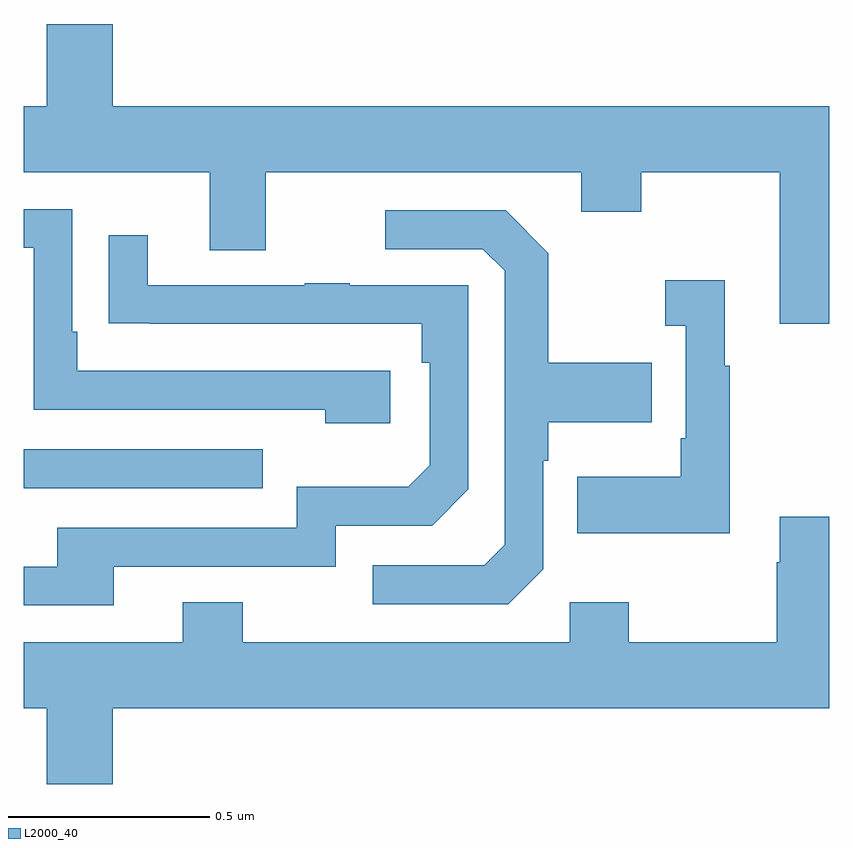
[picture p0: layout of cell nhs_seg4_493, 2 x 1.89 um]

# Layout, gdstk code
import gdstk
lib = gdstk.Library(unit=1e-6, precision=1e-09)
def R(c, l, rs):  # rectangles x0, y0, x1, y1
    for r in rs: c.add(gdstk.rectangle(r[:2], r[2:], *l))
def P(c, l, *ps):  # polygons
    for p in ps: c.add(gdstk.Polygon(p, *l))
L2000_40 = (2000, 40)

nhs_seg4_493 = lib.new_cell('nhs_seg4_493')
R(nhs_seg4_493, L2000_40, [(117,750.747,117.593,750.843)])
P(nhs_seg4_493, L2000_40, [(119,751.696),(117.22,751.696),(117.22,751.9),(117.056,751.9),(117.056,751.696),(117,751.696),(117,751.532),(117.461,751.532),(117.461,751.338),(117.601,751.338),(117.601,751.532),(118.385,751.532),(118.385,751.433),(118.533,751.433),(118.533,751.532),(118.877,751.532),(118.877,751.155),(119,751.155)],
  [(117.91,751.038),(117.133,751.038),(117.133,751.135),(117.12,751.135),(117.12,751.44),(117,751.44),(117,751.344),(117.024,751.344),(117.024,750.942),(117.749,750.942),(117.749,750.908),(117.91,750.908)],
  [(118.29,750.546),(118.29,750.815),(118.303,750.815),(118.303,750.911),(118.559,750.911),(118.559,751.059),(118.303,751.059),(118.303,751.331),(118.197,751.437),(117.897,751.437),(117.897,751.341),(118.14,751.341),(118.194,751.287),(118.194,750.606),(118.143,750.555),(117.867,750.555),(117.867,750.459),(118.203,750.459)],
  [(117.223,750.552),(117.774,750.552),(117.774,750.654),(118.014,750.654),(118.104,750.744),(118.104,751.251),(117.809,751.251),(117.809,751.256),(117.697,751.256),(117.697,751.251),(117.307,751.251),(117.307,751.375),(117.211,751.375),(117.211,751.156),(117.313,751.156),(117.313,751.155),(117.988,751.155),(117.988,751.058),(118.008,751.058),(118.008,750.804),(117.955,750.751),(117.678,750.751),(117.678,750.648),(117.083,750.648),(117.083,750.552),(117,750.552),(117,750.456),(117.223,750.456)],
  [(118.753,751.051),(118.741,751.051),(118.741,751.264),(118.593,751.264),(118.593,751.151),(118.644,751.151),(118.644,750.871),(118.632,750.871),(118.632,750.775),(118.375,750.775),(118.375,750.635),(118.753,750.635)],
  [(117.22,750.2),(119,750.2),(119,750.676),(118.877,750.676),(118.877,750.563),(118.87,750.563),(118.87,750.364),(118.503,750.364),(118.503,750.463),(118.356,750.463),(118.356,750.364),(117.543,750.364),(117.543,750.463),(117.395,750.463),(117.395,750.364),(117,750.364),(117,750.2),(117.056,750.2),(117.056,750.012),(117.22,750.012)])

lib.write_gds('nhs_seg4_493.gds')
